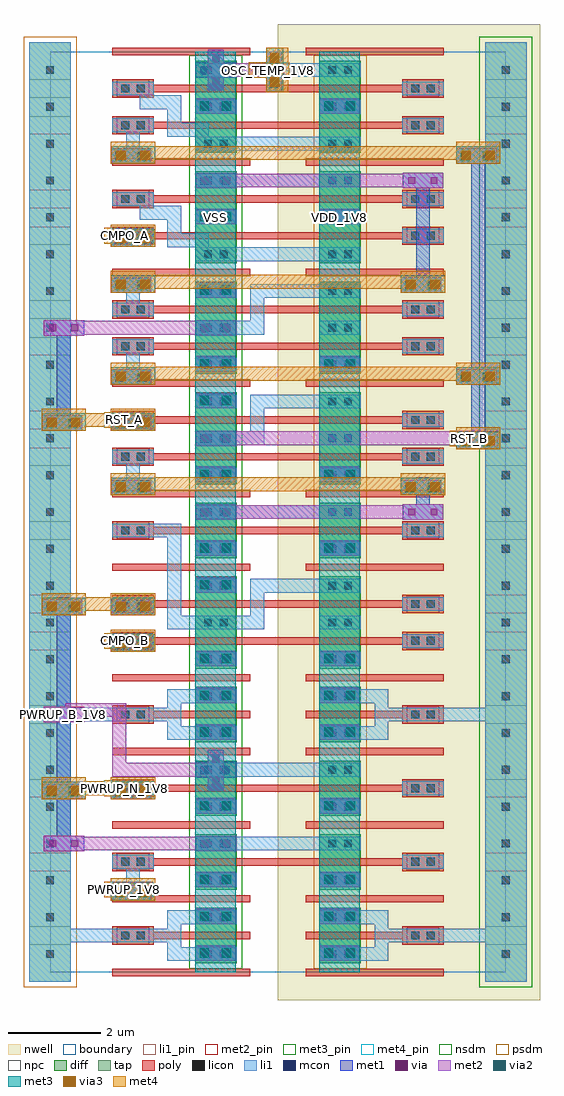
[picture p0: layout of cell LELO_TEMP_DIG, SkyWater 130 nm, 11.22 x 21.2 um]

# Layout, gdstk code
import gdstk
lib = gdstk.Library(unit=1e-6, precision=1e-09)
def R(c, l, rs):  # rectangles x0, y0, x1, y1
    for r in rs: c.add(gdstk.rectangle(r[:2], r[2:], *l))
def A(c, l, x, y, w, h, nx, ny, dx, dy):  # array of equal rectangles
    R(c, l, [(x+i*dx, y+j*dy, x+i*dx+w, y+j*dy+h) for i in range(nx) for j in range(ny)])
nwell = (64, 20)
diff = (65, 20)
tap = (65, 44)
poly = (66, 20)
licon = (66, 44)
li1_pin = (67, 16)
li1 = (67, 20)
mcon = (67, 44)
met1 = (68, 20)
via = (68, 44)
met2_pin = (69, 16)
met2 = (69, 20)
via2 = (69, 44)
met3_pin = (70, 16)
met3 = (70, 20)
via3 = (70, 44)
met4_pin = (71, 16)
met4 = (71, 20)
nsdm = (93, 44)
psdm = (94, 20)
npc = (95, 20)
boundary = (235, 4)

jnwtr_cut_m1m4_2x1 = lib.new_cell('JNWTR_cut_M1M4_2x1')
R(jnwtr_cut_m1m4_2x1, li1, [(0,0,0.84,0.32)])
R(jnwtr_cut_m1m4_2x1, mcon, [(0.105,0.075,0.275,0.245), (0.565,0.075,0.735,0.245)])
R(jnwtr_cut_m1m4_2x1, met1, [(0,0,0.88,0.34)])
R(jnwtr_cut_m1m4_2x1, via, [(0.125,0.095,0.275,0.245), (0.605,0.095,0.755,0.245)])
R(jnwtr_cut_m1m4_2x1, met2, [(0,0,0.88,0.34)])
R(jnwtr_cut_m1m4_2x1, via2, [(0.1,0.07,0.3,0.27), (0.58,0.07,0.78,0.27)])
R(jnwtr_cut_m1m4_2x1, met3, [(0,0,0.88,0.34)])
R(jnwtr_cut_m1m4_2x1, boundary, [(0,0,0.88,0.34)])

jnwtr_pchdl = lib.new_cell('JNWTR_PCHDL')
R(jnwtr_pchdl, nwell, [(0,-0.6,5.7,2.2)])
R(jnwtr_pchdl, diff, [(0.9,0.2,1.8,1.4)])
R(jnwtr_pchdl, tap, [(4.5,-0.2,5.4,1.8)])
A(jnwtr_pchdl, poly, 0.6, -0.08, 3, 0.16, 1, 3, 0, 0.8)
R(jnwtr_pchdl, poly, [(2.7,0.6,3.6,0.72), (2.7,0.88,3.6,1)])
R(jnwtr_pchdl, licon, [(1.095,0.315,1.265,0.485), (1.435,0.315,1.605,0.485), (4.865,0.315,5.035,0.485), (2.895,0.715,3.065,0.885), (3.235,0.715,3.405,0.885), (1.095,1.115,1.265,1.285), (1.435,1.115,1.605,1.285), (4.865,1.115,5.035,1.285)])
R(jnwtr_pchdl, li1_pin, [(0.9,0.25,1.8,0.55), (4.5,0.6,5.4,1), (2.7,0.65,3.6,0.95), (0.9,1.05,1.8,1.35)])
R(jnwtr_pchdl, li1, [(4.5,-0.2,5.4,1.8), (0.9,0.25,1.8,0.55), (2.7,0.65,3.6,0.95), (0.9,1.05,1.8,1.35)])
R(jnwtr_pchdl, nsdm, [(4.375,-0.325,5.525,1.925)])
R(jnwtr_pchdl, psdm, [(0.775,0.075,1.925,1.525)])
R(jnwtr_pchdl, npc, [(2.795,0.615,3.505,0.985)])
R(jnwtr_pchdl, boundary, [(0,0,4.95,1.6)])
jnwtr_pchdl.add(gdstk.Label('D', (1.35,1.2), layer=67, texttype=5))
jnwtr_pchdl.add(gdstk.Label('G', (3.15,0.8), layer=67, texttype=5))
jnwtr_pchdl.add(gdstk.Label('S', (1.35,0.4), layer=67, texttype=5))
jnwtr_pchdl.add(gdstk.Label('B', (4.95,0.8), layer=67, texttype=5))

jnwtr_nchdl = lib.new_cell('JNWTR_NCHDL')
R(jnwtr_nchdl, diff, [(3.15,0.2,4.05,1.4)])
R(jnwtr_nchdl, tap, [(-0.45,-0.2,0.45,1.8)])
A(jnwtr_nchdl, poly, 1.35, -0.08, 3, 0.16, 1, 3, 0, 0.8)
R(jnwtr_nchdl, poly, [(1.35,0.6,2.25,0.72), (1.35,0.88,2.25,1)])
R(jnwtr_nchdl, licon, [(-0.085,0.315,0.085,0.485), (3.345,0.315,3.515,0.485), (3.685,0.315,3.855,0.485), (1.545,0.715,1.715,0.885), (1.885,0.715,2.055,0.885), (-0.085,1.115,0.085,1.285), (3.345,1.115,3.515,1.285), (3.685,1.115,3.855,1.285)])
R(jnwtr_nchdl, li1_pin, [(3.15,0.25,4.05,0.55), (-0.45,0.6,0.45,1), (1.35,0.65,2.25,0.95), (3.15,1.05,4.05,1.35)])
R(jnwtr_nchdl, li1, [(-0.45,-0.2,0.45,1.8), (3.15,0.25,4.05,0.55), (1.35,0.65,2.25,0.95), (3.15,1.05,4.05,1.35)])
R(jnwtr_nchdl, nsdm, [(3.025,0.075,4.175,1.525)])
R(jnwtr_nchdl, psdm, [(-0.575,-0.325,0.575,1.925)])
R(jnwtr_nchdl, npc, [(1.445,0.615,2.155,0.985)])
R(jnwtr_nchdl, boundary, [(0,0,4.95,1.6)])
jnwtr_nchdl.add(gdstk.Label('D', (3.6,1.2), layer=67, texttype=5))
jnwtr_nchdl.add(gdstk.Label('G', (1.8,0.8), layer=67, texttype=5))
jnwtr_nchdl.add(gdstk.Label('S', (3.6,0.4), layer=67, texttype=5))
jnwtr_nchdl.add(gdstk.Label('B', (0,0.8), layer=67, texttype=5))

jnwtr_tapcellb_cv = lib.new_cell('JNWTR_TAPCELLB_CV')
R(jnwtr_tapcellb_cv, li1, [(2.55,0.25,3.6,0.55), (6.3,0.25,7.35,0.55), (2.55,0.55,2.85,0.65), (7.05,0.55,7.35,0.65), (-0.45,0.65,2.85,0.95), (7.05,0.65,10.35,0.95), (2.55,0.95,2.85,1.05), (7.05,0.95,7.35,1.05), (2.55,1.05,3.6,1.35), (6.3,1.05,7.35,1.35)])
R(jnwtr_tapcellb_cv, met3_pin, [(3.15,0,4.03,1.6), (5.85,0,6.73,1.6)])
R(jnwtr_tapcellb_cv, met3, [(3.15,0,4.03,1.6), (5.85,0,6.73,1.6)])
R(jnwtr_tapcellb_cv, boundary, [(0,0,9.9,1.6)])
jnwtr_tapcellb_cv.add(gdstk.Reference(jnwtr_cut_m1m4_2x1, (3.15,0.25)))
jnwtr_tapcellb_cv.add(gdstk.Reference(jnwtr_cut_m1m4_2x1, (3.15,1.05)))
jnwtr_tapcellb_cv.add(gdstk.Reference(jnwtr_cut_m1m4_2x1, (5.85,0.25)))
jnwtr_tapcellb_cv.add(gdstk.Reference(jnwtr_cut_m1m4_2x1, (5.85,1.05)))
jnwtr_tapcellb_cv.add(gdstk.Reference(jnwtr_pchdl, (4.95,0)))
jnwtr_tapcellb_cv.add(gdstk.Reference(jnwtr_nchdl, (0,0)))
jnwtr_tapcellb_cv.add(gdstk.Label('AVDD', (6.29,0.8), layer=70, texttype=5))
jnwtr_tapcellb_cv.add(gdstk.Label('AVSS', (3.59,0.8), layer=70, texttype=5))

jnwtr_ivx1_cv = lib.new_cell('JNWTR_IVX1_CV')
R(jnwtr_ivx1_cv, poly, [(1.35,0.72,8.55,0.88)])
R(jnwtr_ivx1_cv, li1_pin, [(1.35,0.65,2.25,0.95), (3.15,1.05,4.05,1.35)])
R(jnwtr_ivx1_cv, li1, [(1.35,0.65,2.25,0.95), (3.15,1.05,6.3,1.35)])
R(jnwtr_ivx1_cv, met3_pin, [(3.15,0,4.03,1.6), (5.85,0,6.73,1.6)])
R(jnwtr_ivx1_cv, met3, [(3.15,0,4.03,1.6), (5.85,0,6.73,1.6)])
R(jnwtr_ivx1_cv, boundary, [(0,0,9.9,1.6)])
jnwtr_ivx1_cv.add(gdstk.Reference(jnwtr_cut_m1m4_2x1, (3.15,0.25)))
jnwtr_ivx1_cv.add(gdstk.Reference(jnwtr_cut_m1m4_2x1, (5.85,0.25)))
jnwtr_ivx1_cv.add(gdstk.Reference(jnwtr_pchdl, (4.95,0)))
jnwtr_ivx1_cv.add(gdstk.Reference(jnwtr_nchdl, (0,0)))
jnwtr_ivx1_cv.add(gdstk.Label('A', (1.8,0.8), layer=67, texttype=5))
jnwtr_ivx1_cv.add(gdstk.Label('Y', (3.6,1.2), layer=67, texttype=5))
jnwtr_ivx1_cv.add(gdstk.Label('AVDD', (6.29,0.8), layer=70, texttype=5))
jnwtr_ivx1_cv.add(gdstk.Label('AVSS', (3.59,0.8), layer=70, texttype=5))

jnwtr_nrx1_cv = lib.new_cell('JNWTR_NRX1_CV')
R(jnwtr_nrx1_cv, poly, [(1.35,0.72,8.55,0.88), (1.35,1.52,8.55,1.68)])
R(jnwtr_nrx1_cv, li1_pin, [(1.35,0.65,2.25,0.95), (3.15,1.05,4.05,1.35), (1.35,1.45,2.25,1.75)])
R(jnwtr_nrx1_cv, li1, [(1.35,0.65,2.25,0.95), (3.15,1.05,4.65,1.35), (6.15,1.05,6.45,1.35), (4.35,1.35,4.65,1.85), (1.35,1.45,2.25,1.75), (4.35,1.85,6.3,2.15)])
R(jnwtr_nrx1_cv, met3_pin, [(3.15,0,4.03,2.4), (5.85,0,6.73,2.4)])
R(jnwtr_nrx1_cv, met3, [(3.15,0,4.03,2.4), (5.85,0,6.73,2.4)])
R(jnwtr_nrx1_cv, boundary, [(0,0,9.9,2.4)])
jnwtr_nrx1_cv.add(gdstk.Reference(jnwtr_cut_m1m4_2x1, (3.15,1.85)))
jnwtr_nrx1_cv.add(gdstk.Reference(jnwtr_cut_m1m4_2x1, (3.15,0.25)))
jnwtr_nrx1_cv.add(gdstk.Reference(jnwtr_cut_m1m4_2x1, (5.85,0.25)))
jnwtr_nrx1_cv.add(gdstk.Reference(jnwtr_pchdl, (4.95,0.8)))
jnwtr_nrx1_cv.add(gdstk.Reference(jnwtr_pchdl, (4.95,0)))
jnwtr_nrx1_cv.add(gdstk.Reference(jnwtr_nchdl, (0,0.8)))
jnwtr_nrx1_cv.add(gdstk.Reference(jnwtr_nchdl, (0,0)))
jnwtr_nrx1_cv.add(gdstk.Label('A', (1.8,0.8), layer=67, texttype=5))
jnwtr_nrx1_cv.add(gdstk.Label('B', (1.8,1.6), layer=67, texttype=5))
jnwtr_nrx1_cv.add(gdstk.Label('Y', (3.6,1.2), layer=67, texttype=5))
jnwtr_nrx1_cv.add(gdstk.Label('AVDD', (6.29,1.2), layer=70, texttype=5))
jnwtr_nrx1_cv.add(gdstk.Label('AVSS', (3.59,1.2), layer=70, texttype=5))

jnwtr_orx1_cv = lib.new_cell('JNWTR_ORX1_CV')
R(jnwtr_orx1_cv, li1_pin, [(1.35,0.65,2.25,0.95), (1.35,1.45,2.25,1.75), (3.15,3.45,4.05,3.75)])
R(jnwtr_orx1_cv, li1, [(1.35,0.65,2.25,0.95), (2.55,1.05,3.6,1.35), (2.55,1.35,2.85,3.05), (1.35,1.45,2.25,1.75), (1.8,3.05,2.85,3.35), (3.15,3.45,4.05,3.75)])
R(jnwtr_orx1_cv, met3_pin, [(3.15,0,4.03,4), (5.85,0,6.73,4)])
R(jnwtr_orx1_cv, met3, [(3.15,0,4.03,4), (5.85,0,6.73,4)])
R(jnwtr_orx1_cv, nsdm, [(3.025,2.325,4.175,2.475)])
R(jnwtr_orx1_cv, psdm, [(5.725,2.325,6.875,2.475)])
R(jnwtr_orx1_cv, boundary, [(0,0,9.9,4)])
jnwtr_orx1_cv.add(gdstk.Reference(jnwtr_ivx1_cv, (0,2.4)))
jnwtr_orx1_cv.add(gdstk.Reference(jnwtr_nrx1_cv, (0,0)))
jnwtr_orx1_cv.add(gdstk.Label('A', (1.8,0.8), layer=67, texttype=5))
jnwtr_orx1_cv.add(gdstk.Label('B', (1.8,1.6), layer=67, texttype=5))
jnwtr_orx1_cv.add(gdstk.Label('Y', (3.6,3.6), layer=67, texttype=5))
jnwtr_orx1_cv.add(gdstk.Label('AVDD', (6.29,2), layer=70, texttype=5))
jnwtr_orx1_cv.add(gdstk.Label('AVSS', (3.59,2), layer=70, texttype=5))

jnwtr_bfx1_cv = lib.new_cell('JNWTR_BFX1_CV')
R(jnwtr_bfx1_cv, poly, [(1.35,0.72,8.55,0.88), (1.35,1.52,8.55,1.68)])
R(jnwtr_bfx1_cv, li1_pin, [(1.35,0.65,2.25,0.95), (3.15,1.85,4.05,2.15)])
R(jnwtr_bfx1_cv, li1, [(3.15,0.25,6.3,0.55), (2.55,0.55,3.45,0.85), (1.35,0.65,2.25,0.95), (2.55,0.85,2.85,1.15), (1.95,1.15,2.85,1.45), (1.8,1.45,2.25,1.75), (3.15,1.85,6.3,2.15)])
R(jnwtr_bfx1_cv, met3_pin, [(3.15,0,4.03,2.4), (5.85,0,6.73,2.4)])
R(jnwtr_bfx1_cv, met3, [(3.15,0,4.03,2.4), (5.85,0,6.73,2.4)])
R(jnwtr_bfx1_cv, boundary, [(0,0,9.9,2.4)])
jnwtr_bfx1_cv.add(gdstk.Reference(jnwtr_nchdl, (0,0)))
jnwtr_bfx1_cv.add(gdstk.Reference(jnwtr_nchdl, (0,0.8)))
jnwtr_bfx1_cv.add(gdstk.Reference(jnwtr_pchdl, (4.95,0)))
jnwtr_bfx1_cv.add(gdstk.Reference(jnwtr_pchdl, (4.95,0.8)))
jnwtr_bfx1_cv.add(gdstk.Reference(jnwtr_cut_m1m4_2x1, (5.85,1.05)))
jnwtr_bfx1_cv.add(gdstk.Reference(jnwtr_cut_m1m4_2x1, (5.85,1.05)))
jnwtr_bfx1_cv.add(gdstk.Reference(jnwtr_cut_m1m4_2x1, (3.15,1.05)))
jnwtr_bfx1_cv.add(gdstk.Reference(jnwtr_cut_m1m4_2x1, (3.15,1.05)))
jnwtr_bfx1_cv.add(gdstk.Label('A', (1.8,0.8), layer=67, texttype=5))
jnwtr_bfx1_cv.add(gdstk.Label('Y', (3.6,2), layer=67, texttype=5))
jnwtr_bfx1_cv.add(gdstk.Label('AVDD', (6.29,1.2), layer=70, texttype=5))
jnwtr_bfx1_cv.add(gdstk.Label('AVSS', (3.59,1.2), layer=70, texttype=5))

lelo_temp_dig = lib.new_cell('LELO_TEMP_DIG')
R(lelo_temp_dig, li1, [(1.36,1.63,2.2,1.95), (1.65,1.95,1.95,2.4), (3.16,2.63,4,2.95), (1.32,3.76,2.16,4.08), (3.16,4.23,4,4.55), (1.36,7.03,2.2,7.35), (1.32,7.76,2.16,8.08), (3.16,9.83,4,10.15), (1.32,10.36,2.16,10.68), (1.65,10.68,1.95,11.35), (3.16,11.43,4,11.75), (1.32,11.76,2.16,12.08), (1.32,12.76,2.16,13.08), (1.65,13.08,1.95,13.6), (3.16,13.83,4,14.15), (1.65,14.25,1.95,14.76), (1.32,14.76,2.16,15.08), (1.36,15.83,2.2,16.15), (3.16,17.03,4,17.35), (1.32,17.56,2.16,17.88), (1.65,17.88,1.95,18.55), (3.16,19.43,4,19.75)])
R(lelo_temp_dig, mcon, [(1.465,1.705,1.635,1.875), (1.925,1.705,2.095,1.875), (3.265,2.705,3.435,2.875), (3.725,2.705,3.895,2.875), (1.425,3.835,1.595,4.005), (1.885,3.835,2.055,4.005), (3.265,4.305,3.435,4.475), (3.725,4.305,3.895,4.475), (1.465,7.105,1.635,7.275), (1.925,7.105,2.095,7.275), (1.425,7.835,1.595,8.005), (1.885,7.835,2.055,8.005), (3.265,9.905,3.435,10.075), (3.725,9.905,3.895,10.075), (1.425,10.435,1.595,10.605), (1.885,10.435,2.055,10.605), (3.265,11.505,3.435,11.675), (3.725,11.505,3.895,11.675), (1.425,11.835,1.595,12.005), (1.885,11.835,2.055,12.005), (1.425,12.835,1.595,13.005), (1.885,12.835,2.055,13.005), (3.265,13.905,3.435,14.075), (3.725,13.905,3.895,14.075), (1.425,14.835,1.595,15.005), (1.885,14.835,2.055,15.005), (1.465,15.905,1.635,16.075), (1.925,15.905,2.095,16.075), (3.265,17.105,3.435,17.275), (3.725,17.105,3.895,17.275), (1.425,17.635,1.595,17.805), (1.885,17.635,2.055,17.805), (3.265,19.505,3.435,19.675), (3.725,19.505,3.895,19.675)])
A(lelo_temp_dig, met1, -0.18, 3.76, 0.88, 0.34, 1, 3, 0, 4)
R(lelo_temp_dig, met1, [(1.32,1.56,2.2,1.63), (1.32,1.63,2.24,1.9), (1.36,1.9,2.24,1.97), (-0.14,2.63,0.74,2.97), (3.16,2.63,4.04,2.97), (0.15,2.97,0.45,3.76), (1.32,3.76,2.2,4.1), (3.43,3.96,3.77,4.23), (0.15,4.1,0.45,7.76), (3.16,4.23,4.04,4.57), (3.43,4.57,3.77,4.84), (1.32,6.96,2.2,7.03), (1.32,7.03,2.24,7.3), (1.36,7.3,2.24,7.37), (1.32,7.76,2.2,8.1), (0.15,8.1,0.45,8.15), (3.16,9.83,4.04,10.17), (7.66,9.83,8.54,10.17), (7.95,10.17,8.25,10.36), (1.32,10.36,2.2,10.7), (7.62,10.36,8.5,10.7), (7.95,10.7,8.25,10.75), (8.82,11.36,9.7,11.43), (3.16,11.43,4.04,11.77), (8.82,11.43,9.74,11.7), (8.86,11.7,9.74,11.77), (1.32,11.76,2.2,12.1), (9.15,11.77,9.45,12.76), (0.15,12.1,0.45,13.83), (1.32,12.76,2.2,13.1), (8.82,12.76,9.7,13.1), (9.15,13.1,9.45,17.56), (-0.14,13.83,0.74,14.17), (3.16,13.83,4.04,14.17), (1.32,14.76,2.2,15.1), (7.62,14.76,8.5,15.1), (7.95,15.1,8.25,17.03), (1.32,15.76,2.2,15.83), (1.32,15.83,2.24,16.1), (1.36,16.1,2.24,16.17), (3.16,17.03,4.04,17.37), (7.66,17.03,8.54,17.37), (1.32,17.56,2.2,17.9), (8.82,17.56,9.7,17.9), (9.15,17.9,9.45,17.95), (3.43,19.16,3.77,19.43), (3.16,19.43,4.04,19.77), (3.43,19.77,3.77,20.04)])
A(lelo_temp_dig, via, -0.055, 3.855, 0.15, 0.15, 1, 3, 0, 4)
A(lelo_temp_dig, via, 0.425, 3.855, 0.15, 0.15, 1, 3, 0, 4)
R(lelo_temp_dig, via, [(1.445,1.655,1.595,1.805), (1.925,1.655,2.075,1.805), (-0.015,2.725,0.135,2.875), (0.465,2.725,0.615,2.875), (3.285,2.725,3.435,2.875), (3.765,2.725,3.915,2.875), (1.445,3.855,1.595,4.005), (1.925,3.855,2.075,4.005), (3.525,4.085,3.675,4.235), (3.525,4.565,3.675,4.715), (1.445,7.055,1.595,7.205), (1.925,7.055,2.075,7.205), (1.445,7.855,1.595,8.005), (1.925,7.855,2.075,8.005), (3.285,9.925,3.435,10.075), (3.765,9.925,3.915,10.075), (7.785,9.925,7.935,10.075), (8.265,9.925,8.415,10.075), (1.445,10.455,1.595,10.605), (1.925,10.455,2.075,10.605), (7.745,10.455,7.895,10.605), (8.225,10.455,8.375,10.605), (3.285,11.525,3.435,11.675), (3.765,11.525,3.915,11.675), (1.445,11.855,1.595,12.005), (1.925,11.855,2.075,12.005), (1.445,12.855,1.595,13.005), (1.925,12.855,2.075,13.005), (8.945,12.855,9.095,13.005), (9.425,12.855,9.575,13.005), (-0.015,13.925,0.135,14.075), (0.465,13.925,0.615,14.075), (3.285,13.925,3.435,14.075), (3.765,13.925,3.915,14.075), (1.445,14.855,1.595,15.005), (1.925,14.855,2.075,15.005), (7.745,14.855,7.895,15.005), (8.225,14.855,8.375,15.005), (1.445,15.855,1.595,16.005), (1.925,15.855,2.075,16.005), (3.285,17.125,3.435,17.275), (3.765,17.125,3.915,17.275), (7.785,17.125,7.935,17.275), (8.265,17.125,8.415,17.275), (1.445,17.655,1.595,17.805), (1.925,17.655,2.075,17.805), (8.945,17.655,9.095,17.805), (9.425,17.655,9.575,17.805), (3.525,19.285,3.675,19.435), (3.525,19.765,3.675,19.915)])
R(lelo_temp_dig, met2_pin, [(-0.14,5.43,0.74,5.77)])
A(lelo_temp_dig, met2, -0.18, 3.76, 0.88, 0.34, 1, 3, 0, 4)
R(lelo_temp_dig, met2, [(1.32,1.56,2.2,1.9), (-0.14,2.63,0.74,2.65), (3.16,2.63,4.04,2.65), (-0.14,2.65,4.04,2.95), (-0.14,2.95,0.74,2.97), (3.16,2.95,4.04,2.97), (1.32,3.76,2.2,4.1), (3.43,3.96,3.77,4.25), (1.35,4.25,3.77,4.55), (1.35,4.55,1.65,5.55), (3.43,4.55,3.77,4.84), (-0.14,5.43,0.74,5.55), (-0.14,5.55,1.65,5.77), (0.33,5.77,1.65,5.85), (1.32,6.96,2.2,7.3), (1.32,7.76,2.2,8.1), (3.16,9.83,4.04,9.85), (7.66,9.83,8.54,9.85), (3.16,9.85,8.54,10.15), (3.16,10.15,4.04,10.17), (7.66,10.15,8.54,10.17), (1.32,10.36,2.2,10.7), (7.62,10.36,8.5,10.7), (8.82,11.36,9.7,11.43), (3.16,11.43,4.04,11.45), (8.82,11.43,9.74,11.45), (3.16,11.45,9.74,11.75), (3.16,11.75,4.04,11.77), (8.86,11.75,9.74,11.77), (1.32,11.76,2.2,12.1), (1.32,12.76,2.2,13.1), (8.82,12.76,9.7,13.1), (-0.14,13.83,0.74,13.85), (3.16,13.83,4.04,13.85), (-0.14,13.85,4.04,14.15), (-0.14,14.15,0.74,14.17), (3.16,14.15,4.04,14.17), (1.32,14.76,2.2,15.1), (7.62,14.76,8.5,15.1), (1.32,15.76,2.2,16.1), (3.16,17.03,4.04,17.05), (7.66,17.03,8.54,17.05), (3.16,17.05,8.54,17.35), (3.16,17.35,4.04,17.37), (7.66,17.35,8.54,17.37), (1.32,17.56,2.2,17.9), (8.82,17.56,9.7,17.9), (4.69,19.12,5.03,19.45), (3.43,19.16,3.77,19.45), (3.43,19.45,5.08,19.75), (3.43,19.75,3.77,20.04), (4.69,19.75,5.03,20)])
A(lelo_temp_dig, via2, -0.08, 3.83, 0.2, 0.2, 1, 3, 0, 4)
A(lelo_temp_dig, via2, 0.4, 3.83, 0.2, 0.2, 1, 3, 0, 4)
R(lelo_temp_dig, via2, [(1.42,1.63,1.62,1.83), (1.9,1.63,2.1,1.83), (1.42,3.83,1.62,4.03), (1.9,3.83,2.1,4.03), (1.42,7.03,1.62,7.23), (1.9,7.03,2.1,7.23), (1.42,7.83,1.62,8.03), (1.9,7.83,2.1,8.03), (1.42,10.43,1.62,10.63), (1.9,10.43,2.1,10.63), (7.72,10.43,7.92,10.63), (8.2,10.43,8.4,10.63), (8.92,11.43,9.12,11.63), (9.4,11.43,9.6,11.63), (1.42,11.83,1.62,12.03), (1.9,11.83,2.1,12.03), (1.42,12.83,1.62,13.03), (1.9,12.83,2.1,13.03), (8.92,12.83,9.12,13.03), (9.4,12.83,9.6,13.03), (1.42,14.83,1.62,15.03), (1.9,14.83,2.1,15.03), (7.72,14.83,7.92,15.03), (8.2,14.83,8.4,15.03), (1.42,15.83,1.62,16.03), (1.9,15.83,2.1,16.03), (1.42,17.63,1.62,17.83), (1.9,17.63,2.1,17.83), (8.92,17.63,9.12,17.83), (9.4,17.63,9.6,17.83), (4.76,19.22,4.96,19.42), (4.76,19.7,4.96,19.9)])
R(lelo_temp_dig, met3_pin, [(3.15,15.2,4.03,17.6), (5.85,15.2,6.73,17.6)])
A(lelo_temp_dig, met3, -0.18, 3.76, 0.96, 0.38, 1, 3, 0, 4)
R(lelo_temp_dig, met3, [(1.32,1.56,2.28,1.94), (1.32,3.76,2.28,4.14), (1.32,6.96,2.28,7.34), (1.32,7.76,2.28,8.14), (1.32,10.36,2.28,10.74), (7.62,10.36,8.58,10.74), (8.82,11.36,9.78,11.74), (1.32,11.76,2.28,12.14), (1.32,12.76,2.28,13.14), (8.82,12.76,9.78,13.14), (1.32,14.76,2.28,15.14), (7.62,14.76,8.58,15.14), (3.15,15.2,4.03,17.6), (5.85,15.2,6.73,17.6), (1.32,15.76,2.28,16.14), (1.32,17.56,2.28,17.94), (8.82,17.56,9.78,17.94), (4.69,19.12,5.07,20.08)])
A(lelo_temp_dig, via3, -0.06, 3.85, 0.2, 0.2, 1, 3, 0, 4)
A(lelo_temp_dig, via3, 0.46, 3.85, 0.2, 0.2, 1, 3, 0, 4)
R(lelo_temp_dig, via3, [(1.44,1.65,1.64,1.85), (1.96,1.65,2.16,1.85), (1.44,3.85,1.64,4.05), (1.96,3.85,2.16,4.05), (1.44,7.05,1.64,7.25), (1.96,7.05,2.16,7.25), (1.44,7.85,1.64,8.05), (1.96,7.85,2.16,8.05), (1.44,10.45,1.64,10.65), (1.96,10.45,2.16,10.65), (7.74,10.45,7.94,10.65), (8.26,10.45,8.46,10.65), (8.94,11.45,9.14,11.65), (9.46,11.45,9.66,11.65), (1.44,11.85,1.64,12.05), (1.96,11.85,2.16,12.05), (1.44,12.85,1.64,13.05), (1.96,12.85,2.16,13.05), (8.94,12.85,9.14,13.05), (9.46,12.85,9.66,13.05), (1.44,14.85,1.64,15.05), (1.96,14.85,2.16,15.05), (7.74,14.85,7.94,15.05), (8.26,14.85,8.46,15.05), (1.44,15.85,1.64,16.05), (1.96,15.85,2.16,16.05), (1.44,17.65,1.64,17.85), (1.96,17.65,2.16,17.85), (8.94,17.65,9.14,17.85), (9.46,17.65,9.66,17.85), (4.78,19.24,4.98,19.44), (4.78,19.76,4.98,19.96)])
R(lelo_temp_dig, met4_pin, [(1.18,1.63,2.06,1.97), (1.18,3.83,2.06,4.17), (1.18,7.03,2.06,7.37), (8.68,11.43,9.56,11.77), (1.18,11.83,2.06,12.17), (1.18,15.83,2.06,16.17), (4.31,19.43,5.19,19.77)])
A(lelo_temp_dig, met4, -0.18, 3.85, 2.46, 0.3, 1, 3, 0, 4)
R(lelo_temp_dig, met4, [(1.32,1.56,2.28,1.63), (1.18,1.63,2.28,1.97), (1.32,1.97,2.28,2.04), (-0.18,3.76,0.78,3.85), (1.32,3.76,2.28,3.83), (1.18,3.83,2.28,3.85), (-0.18,4.15,0.78,4.24), (1.18,4.15,2.28,4.17), (1.32,4.17,2.28,4.24), (1.32,6.96,2.28,7.03), (1.18,7.03,2.28,7.37), (1.32,7.37,2.28,7.44), (-0.18,7.76,0.78,7.85), (1.32,7.76,2.28,7.85), (-0.18,8.15,0.78,8.24), (1.32,8.15,2.28,8.24), (1.32,10.36,2.28,10.45), (7.62,10.36,8.58,10.45), (1.32,10.45,8.58,10.75), (1.32,10.75,2.28,10.84), (7.62,10.75,8.58,10.84), (8.82,11.36,9.78,11.43), (8.68,11.43,9.78,11.77), (-0.18,11.76,0.78,11.85), (1.32,11.76,2.28,11.83), (8.82,11.77,9.78,11.84), (1.18,11.83,2.28,11.85), (-0.18,12.15,0.78,12.24), (1.18,12.15,2.28,12.17), (1.32,12.17,2.28,12.24), (1.32,12.76,2.28,12.85), (8.82,12.76,9.78,12.85), (1.32,12.85,9.78,13.15), (1.32,13.15,2.28,13.24), (8.82,13.15,9.78,13.24), (1.32,14.76,2.28,14.85), (7.62,14.76,8.58,14.85), (1.32,14.85,8.58,15.15), (1.32,15.15,2.28,15.24), (7.62,15.15,8.58,15.24), (1.32,15.76,2.28,15.83), (1.18,15.83,2.28,16.17), (1.32,16.17,2.28,16.24), (1.32,17.56,2.28,17.65), (8.82,17.56,9.78,17.65), (1.32,17.65,9.78,17.95), (1.32,17.95,2.28,18.04), (8.82,17.95,9.78,18.04), (4.69,19.12,5.17,19.43), (4.31,19.43,5.19,19.77), (4.69,19.77,5.17,20.08)])
A(lelo_temp_dig, nsdm, 3.025, 1.525, 1.15, 0.15, 1, 4, 0, 1.6)
A(lelo_temp_dig, nsdm, 3.025, 10.325, 1.15, 0.15, 1, 4, 0, 2.4)
A(lelo_temp_dig, psdm, 5.725, 1.525, 1.15, 0.15, 1, 4, 0, 1.6)
A(lelo_temp_dig, psdm, 5.725, 10.325, 1.15, 0.15, 1, 4, 0, 2.4)
R(lelo_temp_dig, boundary, [(0,0,9.9,20)])
lelo_temp_dig.add(gdstk.Reference(jnwtr_tapcellb_cv, (0,0)))
lelo_temp_dig.add(gdstk.Reference(jnwtr_tapcellb_cv, (0,4.8)))
lelo_temp_dig.add(gdstk.Reference(jnwtr_ivx1_cv, (0,1.6)))
lelo_temp_dig.add(gdstk.Reference(jnwtr_orx1_cv, (0,6.4)))
lelo_temp_dig.add(gdstk.Reference(jnwtr_ivx1_cv, (0,3.2)))
lelo_temp_dig.add(gdstk.Reference(jnwtr_nrx1_cv, (0,10.4)))
lelo_temp_dig.add(gdstk.Reference(jnwtr_nrx1_cv, (0,12.8)))
lelo_temp_dig.add(gdstk.Reference(jnwtr_bfx1_cv, (0,15.2)))
lelo_temp_dig.add(gdstk.Reference(jnwtr_bfx1_cv, (0,17.6)))
lelo_temp_dig.add(gdstk.Label('CMPO_A', (1.62,16), layer=71, texttype=5))
lelo_temp_dig.add(gdstk.Label('CMPO_B', (1.62,7.2), layer=71, texttype=5))
lelo_temp_dig.add(gdstk.Label('OSC_TEMP_1V8', (4.75,19.6), layer=71, texttype=5))
lelo_temp_dig.add(gdstk.Label('PWRUP_1V8', (1.62,1.8), layer=71, texttype=5))
lelo_temp_dig.add(gdstk.Label('PWRUP_B_1V8', (0.3,5.6), layer=69, texttype=5))
lelo_temp_dig.add(gdstk.Label('PWRUP_N_1V8', (1.62,4), layer=71, texttype=5))
lelo_temp_dig.add(gdstk.Label('RST_A', (1.62,12), layer=71, texttype=5))
lelo_temp_dig.add(gdstk.Label('RST_B', (9.12,11.6), layer=71, texttype=5))
lelo_temp_dig.add(gdstk.Label('VDD_1V8', (6.29,16.4), layer=70, texttype=5))
lelo_temp_dig.add(gdstk.Label('VSS', (3.59,16.4), layer=70, texttype=5))

lib.write_gds('LELO_TEMP_DIG.gds')
